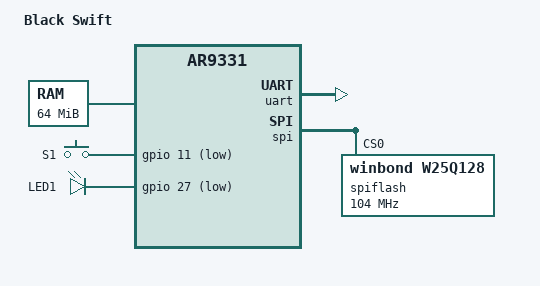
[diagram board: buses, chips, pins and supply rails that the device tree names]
/dts-v1/;

#include <dt-bindings/gpio/gpio.h>
#include <dt-bindings/input/input.h>

#include <mips/qca/ar9331.dtsi>

/ {
	model = "Black Swift";
	compatible = "smartlx,black-swift";

	aliases {
		spiflash = &spiflash;
	};

	chosen {
		stdout-path = &uart;
	};

	memory@0 {
		device_type = "memory";
		reg = <0x00000000 0x4000000>;
	};

	buttons {
		compatible = "gpio-keys";

		s1 {
			label = "S1";
			gpios = <&gpio 11 GPIO_ACTIVE_LOW>;
			linux,code = <KEY_RESTART>;
		};
	};

	leds {
		compatible = "gpio-leds";

		s1 {
			label = "LED1";
			gpios = <&gpio 27 GPIO_ACTIVE_LOW>;
			default-state = "off";
		};
	};
};

&ref {
	clock-frequency = <25000000>;
};

&uart {
	status = "okay";
};

&gpio {
	status = "okay";
};

&spi {
	num-chipselects = <1>;
	status = "okay";

	/* Winbond W25Q128FV SPI flash */
	spiflash: w25q128@0 {
		#address-cells = <1>;
		#size-cells = <1>;
		compatible = "winbond,w25q128", "jedec,spi-nor";
		spi-max-frequency = <104000000>;
		reg = <0>;
	};
};
